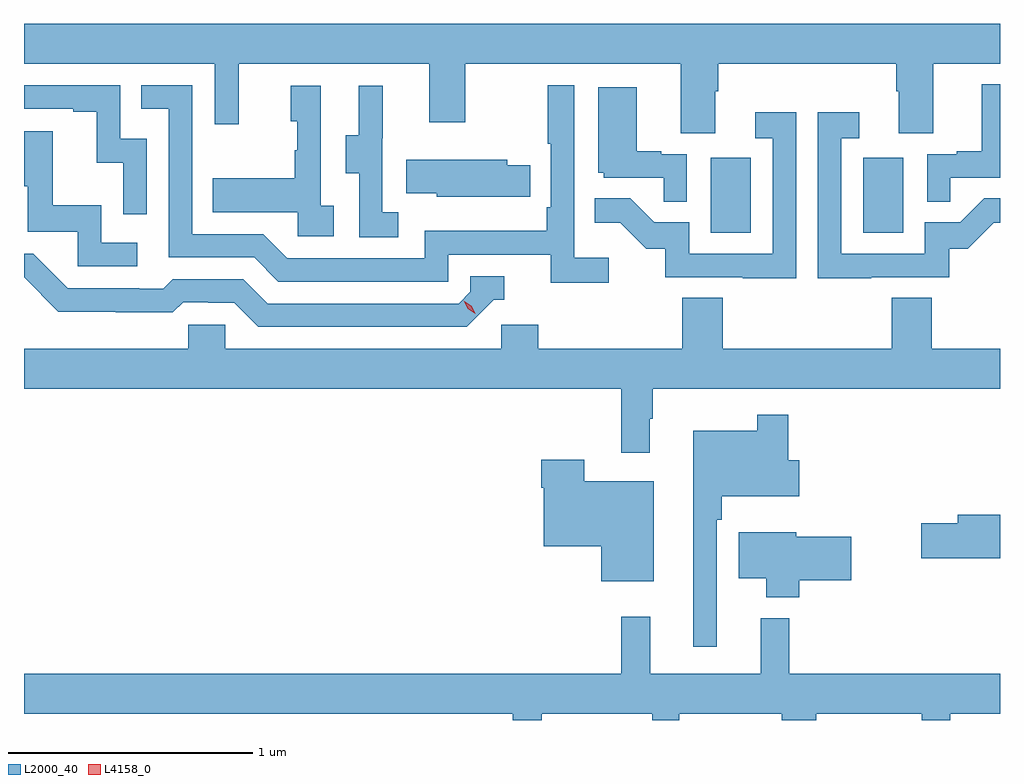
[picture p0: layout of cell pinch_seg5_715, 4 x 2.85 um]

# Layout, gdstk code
import gdstk
lib = gdstk.Library(unit=1e-6, precision=1e-09)
def R(c, l, rs):  # rectangles x0, y0, x1, y1
    for r in rs: c.add(gdstk.rectangle(r[:2], r[2:], *l))
def P(c, l, *ps):  # polygons
    for p in ps: c.add(gdstk.Polygon(p, *l))
L2000_40 = (2000, 40)
L4158_0 = (4158, 0)

pinch_seg5_715 = lib.new_cell('pinch_seg5_715')
R(pinch_seg5_715, L2000_40, [(1083.11,840.084,1083.274,840.391), (1083.734,840.084,1083.898,840.391)])
P(pinch_seg5_715, L2000_40, [(1083.127,840.664),(1083.14,840.664),(1083.14,840.776),(1083.869,840.776),(1083.869,840.664),(1083.881,840.664),(1083.881,840.49),(1084.021,840.49),(1084.021,840.776),(1084.295,840.776),(1084.295,840.94),(1080.295,840.94),(1080.295,840.776),(1081.077,840.776),(1081.077,840.528),(1081.175,840.528),(1081.175,840.776),(1081.955,840.776),(1081.955,840.537),(1082.103,840.537),(1082.103,840.776),(1082.987,840.776),(1082.987,840.49),(1083.127,840.49)],
  [(1084.091,840.309),(1084.295,840.309),(1084.295,840.691),(1084.22,840.691),(1084.22,840.418),(1084.117,840.418),(1084.117,840.405),(1083.996,840.405),(1083.996,840.211),(1084.091,840.211)],
  [(1082.692,839.98),(1082.55,839.98),(1082.55,840.688),(1082.442,840.688),(1082.442,840.448),(1082.454,840.448),(1082.454,840.187),(1082.437,840.187),(1082.437,840.091),(1081.938,840.091),(1081.938,839.979),(1081.374,839.979),(1081.275,840.078),(1080.984,840.078),(1080.984,840.687),(1080.775,840.687),(1080.775,840.591),(1080.888,840.591),(1080.888,839.982),(1081.238,839.982),(1081.337,839.883),(1082.034,839.883),(1082.034,839.994),(1082.453,839.994),(1082.453,839.878),(1082.692,839.878)],
  [(1080.798,840.468),(1080.69,840.468),(1080.69,840.687),(1080.295,840.687),(1080.295,840.591),(1080.497,840.591),(1080.497,840.579),(1080.593,840.579),(1080.593,840.371),(1080.702,840.371),(1080.702,840.159),(1080.798,840.159)],
  [(1081.564,840.194),(1081.512,840.194),(1081.512,840.685),(1081.388,840.685),(1081.388,840.54),(1081.414,840.54),(1081.414,840.422),(1081.404,840.422),(1081.404,840.307),(1081.069,840.307),(1081.069,840.167),(1081.416,840.167),(1081.416,840.069),(1081.564,840.069)],
  [(1081.828,840.167),(1081.764,840.167),(1081.764,840.471),(1081.766,840.471),(1081.766,840.685),(1081.667,840.685),(1081.667,840.483),(1081.613,840.483),(1081.613,840.328),(1081.668,840.328),(1081.668,840.064),(1081.828,840.064)],
  [(1083.012,840.405),(1082.906,840.405),(1082.906,840.418),(1082.806,840.418),(1082.806,840.679),(1082.648,840.679),(1082.648,840.33),(1082.67,840.33),(1082.67,840.309),(1082.917,840.309),(1082.917,840.211),(1083.012,840.211)],
  [(1083.459,840.577),(1083.291,840.577),(1083.291,840.471),(1083.363,840.471),(1083.363,839.997),(1083.021,839.997),(1083.021,840.126),(1082.877,840.126),(1082.779,840.224),(1082.635,840.224),(1082.635,840.125),(1082.739,840.125),(1082.846,840.018),(1082.923,840.018),(1082.923,839.901),(1083.241,839.901),(1083.241,839.896),(1083.459,839.896)],
  [(1083.767,839.901),(1084.086,839.901),(1084.086,840.018),(1084.162,840.018),(1084.269,840.125),(1084.295,840.125),(1084.295,840.224),(1084.23,840.224),(1084.132,840.126),(1083.987,840.126),(1083.987,839.997),(1083.645,839.997),(1083.645,840.471),(1083.718,840.471),(1083.718,840.577),(1083.549,840.577),(1083.549,839.896),(1083.767,839.896)],
  [(1080.76,840.042),(1080.612,840.042),(1080.612,840.196),(1080.413,840.196),(1080.413,840.499),(1080.295,840.499),(1080.295,840.273),(1080.311,840.273),(1080.311,840.087),(1080.516,840.087),(1080.516,839.946),(1080.76,839.946)],
  [(1082.258,840.231),(1082.369,840.231),(1082.369,840.36),(1082.275,840.36),(1082.275,840.382),(1081.861,840.382),(1081.861,840.245),(1081.986,840.245),(1081.986,840.23),(1082.258,840.23)],
  [(1082.22,839.808),(1082.263,839.808),(1082.263,839.904),(1082.124,839.904),(1082.124,839.841),(1082.076,839.793),(1081.293,839.793),(1081.194,839.892),(1080.905,839.892),(1080.866,839.853),(1080.767,839.853),(1080.767,839.856),(1080.474,839.856),(1080.333,839.997),(1080.295,839.997),(1080.295,839.9),(1080.436,839.759),(1080.672,839.759),(1080.672,839.757),(1080.905,839.757),(1080.947,839.799),(1081.05,839.799),(1081.05,839.796),(1081.157,839.796),(1081.256,839.697),(1082.109,839.697)],
  [(1082.86,839.321),(1082.872,839.321),(1082.872,839.444),(1084.295,839.444),(1084.295,839.608),(1084.016,839.608),(1084.016,839.816),(1083.851,839.816),(1083.851,839.608),(1083.158,839.608),(1083.158,839.816),(1082.993,839.816),(1082.993,839.608),(1082.402,839.608),(1082.402,839.706),(1082.25,839.706),(1082.25,839.608),(1081.119,839.608),(1081.119,839.706),(1080.969,839.706),(1080.969,839.608),(1080.295,839.608),(1080.295,839.444),(1082.743,839.444),(1082.743,839.181),(1082.86,839.181)],
  [(1083.135,838.907),(1083.155,838.907),(1083.155,839.003),(1083.472,839.003),(1083.472,839.151),(1083.428,839.151),(1083.428,839.338),(1083.3,839.338),(1083.3,839.272),(1083.038,839.272),(1083.038,838.386),(1083.135,838.386)],
  [(1082.875,839.065),(1082.592,839.065),(1082.592,839.152),(1082.414,839.152),(1082.414,839.039),(1082.426,839.039),(1082.426,838.799),(1082.66,838.799),(1082.66,838.655),(1082.875,838.655)],
  [(1084.295,838.928),(1084.121,838.928),(1084.121,838.892),(1083.972,838.892),(1083.972,838.75),(1084.295,838.75)],
  [(1083.473,838.66),(1083.685,838.66),(1083.685,838.838),(1083.46,838.838),(1083.46,838.855),(1083.224,838.855),(1083.224,838.667),(1083.338,838.667),(1083.338,838.589),(1083.473,838.589)],
  [(1082.417,838.112),(1082.87,838.112),(1082.87,838.085),(1082.98,838.085),(1082.98,838.112),(1083.401,838.112),(1083.401,838.085),(1083.541,838.085),(1083.541,838.112),(1083.975,838.112),(1083.975,838.085),(1084.091,838.085),(1084.091,838.112),(1084.295,838.112),(1084.295,838.276),(1083.431,838.276),(1083.431,838.504),(1083.314,838.504),(1083.314,838.276),(1082.861,838.276),(1082.861,838.51),(1082.743,838.51),(1082.743,838.276),(1080.295,838.276),(1080.295,838.112),(1082.299,838.112),(1082.299,838.085),(1082.417,838.085)])
P(pinch_seg5_715, L4158_0, [(1082.144,839.752),(1082.114,839.772),(1082.098,839.805),(1082.098,839.805),(1082.098,839.805),(1082.129,839.785),(1082.144,839.753),(1082.144,839.752)])

lib.write_gds('pinch_seg5_715.gds')
